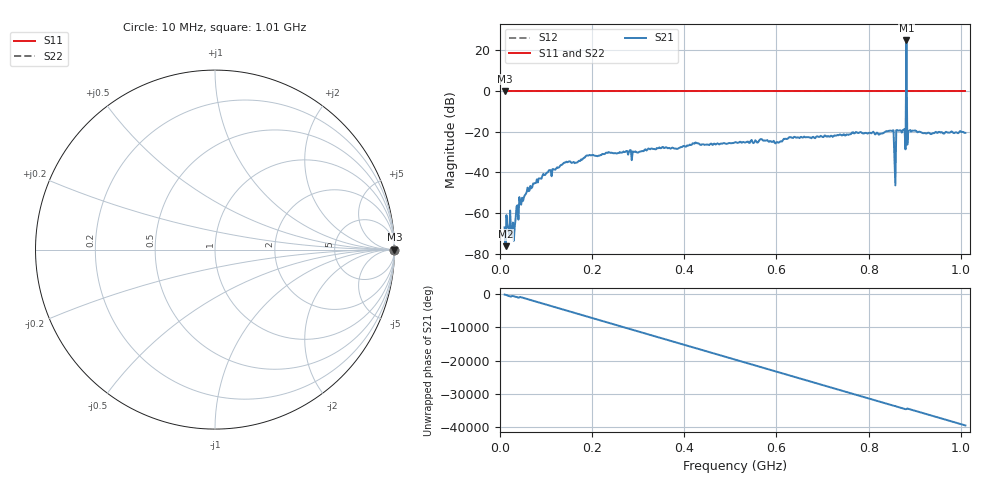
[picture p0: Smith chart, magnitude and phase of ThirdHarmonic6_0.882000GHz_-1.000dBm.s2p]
! 8/16/2025 5:03:03 AM
! C:\ANRITSUVNA\TEMP\TEMP.S2P
! CHANNEL.1
! TR.MEASUREMENT
! RAW.DATA
! RF.CORRECTION.OFF
! AVERAGING.OFF
! IF.BANDWIDTH: 5KHZ
! SWEEPTYPE:  FREQ.SWEEP(Linear)
! Reference Plane Port Info
! PORT:  PORT1  PORT2
! DISTANCE:  0  m  0  m
! TIME:  0  s  0  s
! PHASE.OFFSET:  0  deg.  0  deg.
! LOSS:  0  dB  0  dB
! REF.LOSS:  0  dB  0  dB
! REF.FREQ:  0  Hz  0  Hz
! Power Info
! POWER:  -20  dBm  -20  dBm
! EFF.POWER:  -20  dBm  -20  dBm
! SOURCE.ATTEN:  0  dB  0  dB
! TEST.ATTEN:  0  dB  0  dB
# GHZ S RI R 50.0
! FREQ.GHZ  S11RE  S11IM  S21RE  S21IM  S12RE  S12IM  S22RE  S22IM
!; PortSelection: Port_12
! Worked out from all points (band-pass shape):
!   501 points, 10 MHz to 1.01 GHz, reference 50 ohm
!   highest |S21| = 24.87 dB at 882 MHz (marker M1); lowest = -76.4 dB at 12 MHz (marker M2)
!   |S21| within 3 dB of the highest: 881.8881 MHz to 882.117 MHz (229 kHz wide, 0.026 % of centre)
!   lowest |S11| = 0.0 dB at 10 MHz (marker M3)
!   |S11| at or under -10 dB: nowhere
!   |S22| runs from 0.0 to 0.0 dB; largest |S21 - S12| = 17
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0.01  1 0  -0.000246 -0.000366  1 0  1 0
0.012  1 0  -0.000122 9.07e-05  1 0  1 0
0.016  1 0  0.000336 -0.000332  1 0  1 0
0.018  1 0  -0.000409 -0.000125  1 0  1 0
0.028  1 0  -0.00051 0.000273  1 0  1 0
0.04  1 0  0.000679 7.2e-05  1 0  1 0
0.076  1 0  0.00542 0.000322  1 0  1 0
0.178  1 0  -0.02 -0.00383  1 0  1 0
0.344  1 0  0.0368 -0.0141  1 0  1 0
0.51  1 0  -0.0411 0.036  1 0  1 0
0.678  1 0  -0.058 -0.0452  1 0  1 0
0.844  1 0  0.1049 0.000742  1 0  1 0
0.85  1 0  -0.0456 0.0931  1 0  1 0
0.854  1 0  0.074 -0.0779  1 0  1 0
0.86  1 0  0.033 0.1036  1 0  1 0
0.864  1 0  -0.00317 -0.1052  1 0  1 0
0.876  1 0  -0.0913 0.0619  1 0  1 0
0.878  1 0  0.0488 0.1055  1 0  1 0
0.882  1 0  17.52 -0.4864  1 0  1 0
0.886  1 0  -0.00234 0.1027  1 0  1 0
0.888  1 0  0.1028 0.0256  1 0  1 0
1.01  1 0  -0.0578 0.0729  1 0  1 0
